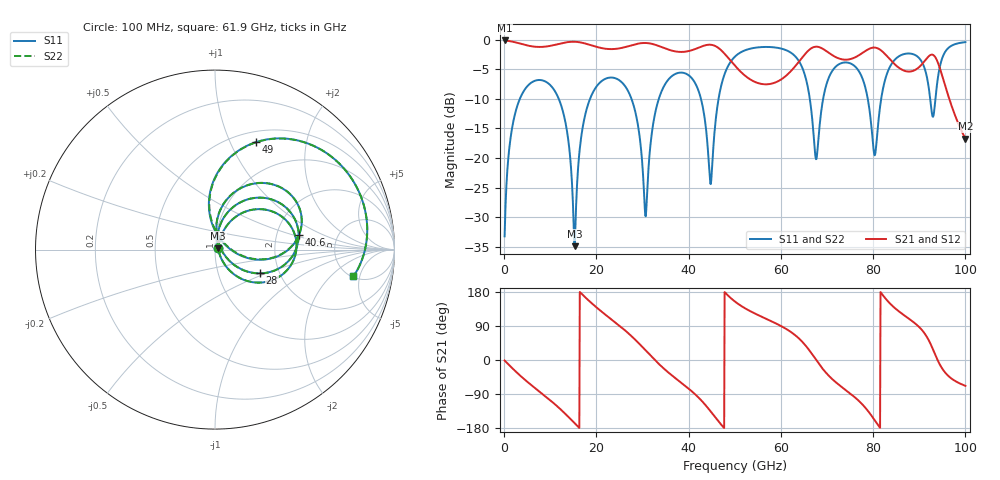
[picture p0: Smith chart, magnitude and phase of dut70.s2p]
! Touchstone file exported from HFSS 2026.1.0
!  File:  C:/ffzhzh/LocalFiles/Ansys_Project_Files/temp_train_TSV_RDL_70_1783449054_50928.aedt
!  Generated:  02:43:02 AM Jul  8, 2026
!  Design:  TSV_RDL
!  Project:  temp_train_TSV_RDL_70_1783449054_50928
! Variables:
!  h_bsmrdl = 3.34um
!  h_ox = 20um
!  h_rdl = 5um
!  h_sub = 62.42um
!  h_tmrdl = 3.05um
!  h_tsv = 62.42um
!  h_via = 3um
!  l_bsmrdl = 492.63um
!  l_sub = 3595.25um
!  l_tmrdl = 396.73um
!  m_sub = 200um
!  pitch = 48.15um
!  r_tsv = 14.8um
!  s_tmrdl = 10um
!  w_bsmrdl = 27.91um
!  w_sub = 500um
!  w_tmrdl = 15.57um
!  x_tsv_center1 = 404.515um
!  x_tsv_center2 = 925.055um
!  x_tsv_center3 = 1337.355um
!  x_tsv_center4 = 1857.895um
!  x_tsv_center5 = 2270.195um
!  x_tsv_center6 = 2790.735um
# GHz S MA R 50.000000
! Terminal data exported
! Port[1] = TM_RDL1_1_T1
! Port[2] = TM_RDL5_1_T1
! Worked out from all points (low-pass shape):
!   1000 points, 100 MHz to 100 GHz, reference 50 ohm
!   highest |S21| = -0.16 dB at 100 MHz (marker M1); lowest = -16.8 dB at 100 GHz (marker M2)
!   |S21| within 3 dB of the highest: start of sweep to 48.64 GHz; 64.5 GHz to 72.43 GHz (7.936 GHz wide, 11.6 % of centre) (the widest 2 of 4)
!   lowest |S11| = -34.9 dB at 15.3 GHz (marker M3), VSWR 1.04, Z = 51.7 + j0.707 ohm
!   |S11| at or under -10 dB: 11.83 GHz to 18.63 GHz (6.8 GHz wide, 44.7 % of centre); 27.6 GHz to 33.54 GHz (5.943 GHz wide, 19.4 % of centre); 42.66 GHz to 46.49 GHz (3.824 GHz wide, 8.58 % of centre) (the widest 3 of 7)
!   |S22| runs from -34.7 to -0.4 dB; largest |S21 - S12| = 2.8e-14
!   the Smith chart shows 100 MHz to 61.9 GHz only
!   S11 on the Smith chart (normalised r, x): 100 MHz: 1.04, +0.02; 28 GHz: 1.59, -0.46; 40.6 GHz: 2.68, +0.56; 49 GHz: 0.62, +1.25; 61.9 GHz: 5.13, -4.00
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0.1  0.0218 31.8  0.9817 -1.3  0.9817 -1.3  0.0218 31.8
! Gamma 0 0 0 0
! Port Impedance 50 0 50 0
2.4  0.2391 55.2  0.9473 -29.1  0.9473 -29.1  0.2391 55.2
7.5  0.4552 6.0  0.8655 -81.8  0.8655 -81.8  0.4552 6.0
12.7  0.2506 -44.3  0.9341 -135.5  0.9341 -135.5  0.2506 -44.2
15.3  0.018 22.3  0.9573 -166.9  0.9573 -166.9  0.01835 22.4
16.8  0.1594 76.8  0.9409 174.7  0.9409 174.7  0.1596 76.7
28  0.2836 -27.8  0.9021 58.5  0.9021 58.5  0.2837 -27.9
30.7  0.03216 31.7  0.9347 25.0  0.9347 25.0  0.03124 31.7
33.4  0.3036 75.0  0.885 -8.7  0.885 -8.7  0.3035 75.2
40.6  0.4752 9.8  0.8103 -81.7  0.8103 -81.7  0.4754 10.1
44.8  0.06018 47.6  0.9033 -136.1  0.9033 -136.1  0.0628 47.4
49  0.6399 69.2  0.6691 164.8  0.6691 164.8  0.64 69.1
50.1  0.7208 59.3  0.597 153.7  0.597 153.7  0.7209 59.2
61.9  0.7857 -11.0  0.5278 76.1  0.5278 76.1  0.7859 -10.9
66.7  0.2311 -48.7  0.8482 16.5  0.8482 16.5  0.2318 -48.5
70.5  0.488 39.7  0.7667 -43.0  0.7667 -43.0  0.4879 39.6
76.8  0.5481 -12.1  0.7319 -106.7  0.7319 -106.7  0.5483 -12.0
80.3  0.1054 15.1  0.8547 -158.2  0.8547 -158.2  0.1078 15.1
83.4  0.5628 53.6  0.6964 152.3  0.6964 152.3  0.563 53.3
89  0.7431 9.9  0.5506 97.5  0.5506 97.5  0.743 9.8
93.3  0.2629 46.6  0.7244 18.6  0.7244 18.6  0.2645 46.4
100  0.9504 15.8  0.1453 -68.1  0.1453 -68.1  0.9505 15.7
